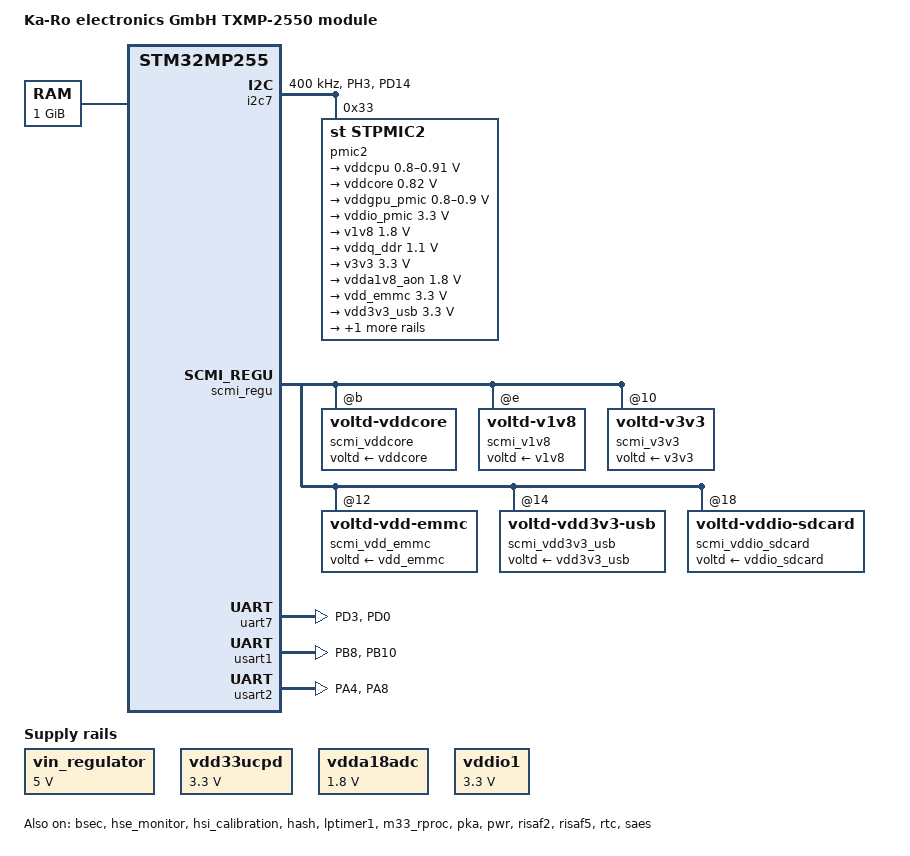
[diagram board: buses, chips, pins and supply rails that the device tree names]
// SPDX-License-Identifier: (GPL-2.0-or-later OR BSD-3-Clause)
/*
 * Copyright (C) 2024, STMicroelectronics - All Rights Reserved
 * Author: STM32CubeMX code generation for STMicroelectronics.
 */

/* For more information on Device Tree configuration, please refer to
 * https://wiki.st.com/stm32mpu/wiki/Category:Device_tree_configuration
 */

/dts-v1/;

#include "stm32mp255.dtsi"
#include "stm32mp25xf.dtsi"
#include "stm32mp255c-txmp-2550-rcc.dtsi"
#include "stm32mp255c-txmp-2550-resmem.dtsi"
#include "stm32mp255c-txmp-2550-rif.dtsi"
#include "stm32mp25xxai-pinctrl.dtsi"

#include <dt-bindings/mfd/st,stpmic2.h>
#include <dt-bindings/pinctrl/stm32-pinfunc.h>

/ {
	model = "Ka-Ro electronics GmbH TXMP-2550 module";
	compatible = "st,stm32mp255c-txmp-2550", "st,stm32mp255";

	aliases {
		serial0 = &usart2;
	};

	chosen {
		stdout-path = "serial0:115200n8";
	};

	memory@80000000 {
		device_type = "memory";
		reg = <0x00000000 0x80000000 0x00000000 0x40000000>;
	};

	shadow-prov {
		compatible = "st,provisioning";

		hconf1_prov {
			nvmem-cells = <&hconf1_otp>;
			st,shadow-value = <0x00008006>;
		};
	};

	vin_regulator: vin-regulator {
		compatible = "regulator-fixed";
		regulator-name = "vin";
		regulator-min-microvolt = <5000000>;
		regulator-max-microvolt = <5000000>;
		regulator-always-on;
	};
};

&bsec {
	status = "okay";
};

&cpu0 {
	cpu-supply = <&vddcpu>;
};

&hse_monitor {
	status = "okay";
};

&hsi_calibration {
	status = "okay";
};

&hash {
	status = "okay";
};

&hpdma2 {
	status = "okay";
};

&hpdma3 {
	status = "okay";
};

&i2c7 {
	pinctrl-names = "default", "sleep";
	pinctrl-0 = <&i2c7_pins>;
	pinctrl-1 = <&i2c7_sleep_pins>;
	clock-frequency = <400000>;
	#address-cells = <1>;
	#size-cells = <0>;
	status = "okay";

	pmic2: stpmic2@33 {
		compatible = "st,stpmic2";
		reg = <0x33>;
		st,wakeup-pin-number = <1>;
		st,pmic-it-id = <IT_PKEY_FA IT_PKEY_RI>;
		st,notif-it-id = <0 1>;
		status = "okay";

		regulators {
			compatible = "st,stpmic2-regulators";
			ldo1-supply = <&vddio_pmic>;

			vddcpu: buck1 {
				regulator-name = "vddcpu";
				regulator-min-microvolt = <800000>;
				regulator-max-microvolt = <910000>;
				regulator-always-on;
				st,pwrctrl-sel = <2>;
				st,pwrctrl-enable;

				default {
					regulator-off-in-suspend;
				};

				lplv {
					regulator-off-in-suspend;
				};

				standby {
					regulator-off-in-suspend;
				};

				off {
					regulator-off-in-suspend;
				};
			};

			vddcore: buck2 {
				regulator-name = "vddcore";
				regulator-min-microvolt = <820000>;
				regulator-max-microvolt = <820000>;
				regulator-always-on;
				st,pwrctrl-sel = <1>;
				st,pwrctrl-enable;

				default {
					regulator-on-in-suspend;
					regulator-suspend-microvolt = <820000>;
				};

				lplv {
					regulator-on-in-suspend;
					regulator-suspend-microvolt = <670000>;
				};

				standby {
					regulator-off-in-suspend;
				};

				off {
					regulator-off-in-suspend;
				};
			};

			vddgpu_pmic: buck3 {
				regulator-name = "vddgpu_pmic";
				regulator-min-microvolt = <800000>;
				regulator-max-microvolt = <900000>;
				regulator-over-current-protection;
			};

			vddio_pmic: buck4 {
				regulator-name = "vddio_pmic";
				regulator-min-microvolt = <3300000>;
				regulator-max-microvolt = <3300000>;
				regulator-always-on;
				st,mask-reset;
				st,pwrctrl-sel = <1>;
				st,pwrctrl-enable;

				default {
					regulator-on-in-suspend;
					regulator-suspend-microvolt = <3300000>;
				};

				lplv {
					regulator-on-in-suspend;
					regulator-suspend-microvolt = <3300000>;
				};

				standby {
					regulator-on-in-suspend;
					regulator-suspend-microvolt = <3300000>;
				};

				off {
					/* ToDo: switch to LP */
					regulator-on-in-suspend;
					regulator-suspend-microvolt = <3300000>;
				};
			};

			v1v8: buck5 {
				regulator-name = "v1v8";
				regulator-min-microvolt = <1800000>;
				regulator-max-microvolt = <1800000>;
				regulator-always-on;
				st,pwrctrl-sel = <1>;
				st,pwrctrl-enable;

				default {
					regulator-on-in-suspend;
					regulator-suspend-microvolt = <1800000>;
				};

				lplv {
					regulator-on-in-suspend;
					regulator-suspend-microvolt = <1800000>;
				};

				standby {
					regulator-on-in-suspend;
					regulator-suspend-microvolt = <1800000>;
				};

				off {
					regulator-off-in-suspend;
				};
			};

			vddq_ddr: buck6 {
				regulator-name = "vddq_ddr";
				regulator-min-microvolt = <1100000>;
				regulator-max-microvolt = <1100000>;
				regulator-always-on;
				st,pwrctrl-sel = <1>;
				st,pwrctrl-enable;

				default {
					regulator-on-in-suspend;
					regulator-suspend-microvolt = <1100000>;
				};

				lplv {
					regulator-on-in-suspend;
					regulator-suspend-microvolt = <1100000>;
				};

				standby {
					regulator-on-in-suspend;
					regulator-suspend-microvolt = <1100000>;
				};

				off {
					regulator-off-in-suspend;
				};
			};

			v3v3: buck7 {
				regulator-name = "v3v3";
				regulator-min-microvolt = <3300000>;
				regulator-max-microvolt = <3300000>;
				regulator-always-on;
				regulator-over-current-protection;
				st,pwrctrl-sel = <1>;
				st,pwrctrl-enable;

				default {
					regulator-on-in-suspend;
					regulator-suspend-microvolt = <3300000>;
				};

				lplv {
					regulator-on-in-suspend;
					regulator-suspend-microvolt = <3300000>;
				};

				standby {
					regulator-off-in-suspend;
				};

				off {
					regulator-off-in-suspend;
				};
			};

			vdda1v8_aon: ldo1 {
				regulator-name = "vdda1v8_aon";
				regulator-min-microvolt = <1800000>;
				regulator-max-microvolt = <1800000>;
				regulator-always-on;
				st,alternate-input-source;
				st,mask-reset;
			};

			vdd_emmc: ldo2 {
				regulator-name = "vdd_emmc";
				regulator-min-microvolt = <3300000>;
				regulator-max-microvolt = <3300000>;
				regulator-over-current-protection;
				regulator-always-on;
			};

			vdd3v3_usb: ldo4 {
				regulator-name = "vdd3v3_usb";
				regulator-min-microvolt = <3300000>;
				regulator-max-microvolt = <3300000>;
				regulator-always-on;
				regulator-over-current-protection;
			};

			vddio_sdcard: ldo8 {
				regulator-name = "vddio_sdcard";
				regulator-min-microvolt = <1800000>;
				regulator-max-microvolt = <3300000>;
				regulator-over-current-protection;
				st,regulator-bypass-microvolt = <3300000>;
			};
		};
	};
};

&ipcc1 {
	status = "okay";
};

&iwdg1 {
//	status = "okay";
};

&lptimer1 {
	status = "okay";

	counter {
		status = "okay";
	};
};

&m33_rproc {
	status = "okay";
	compatible = "st,stm32mp2-m33-tee";
	memory-region = <&cm33_cube_fw>, <&cm33_cube_data>,
			<&ipc_shmem>, <&tfm_code>, <&tfm_data>,
			<&cm33_sram2>;
};

&pka {
	status = "okay";
};

&pwr {
	pinctrl-names = "default";
	pinctrl-0 = <&wakeup_pins>;
	status = "okay";
};

&rcc {
	st,c1msrd = <2>;

	st,clk_opp {
		st,ck_cpu1 {
			cfg-1 {
				hz = <1500000000>;
				st,clksrc = <0>;
				st,pll = <&pll1_cfg_1500MHz>;
			};

			cfg-2 {
				hz = <1200000000>;
				st,clksrc = <0>;
				st,pll = <&pll1_cfg_1200MHz>;
			};

			cfg-3 {
				hz = <1000000000>;
				st,clksrc = <0>;
				st,pll = <&pll1_cfg_1000MHz>;
			};
		};
	};
};

&risaf2 {
	status = "okay";
};

&risaf5 {
	status = "okay";
};

&rtc {
	status = "okay";
};

&saes {
	status = "okay";
};

&scmi_regu {
	scmi_vddcore: voltd-vddcore@b {
		reg = <VOLTD_SCMI_STPMIC2_BUCK2>;
		voltd-supply = <&vddcore>;
	};

	scmi_v1v8: voltd-v1v8@e {
		reg = <VOLTD_SCMI_STPMIC2_BUCK5>;
		voltd-supply = <&v1v8>;
	};

	scmi_v3v3: voltd-v3v3@10 {
		reg = <VOLTD_SCMI_STPMIC2_BUCK7>;
		voltd-supply = <&v3v3>;
	};

	scmi_vdd_emmc: voltd-vdd-emmc@12 {
		reg = <VOLTD_SCMI_STPMIC2_LDO2>;
		voltd-supply = <&vdd_emmc>;
	};

	scmi_vdd3v3_usb: voltd-vdd3v3-usb@14 {
		reg = <VOLTD_SCMI_STPMIC2_LDO4>;
		voltd-supply = <&vdd3v3_usb>;
	};

	scmi_vddio_sdcard: voltd-vddio-sdcard@18 {
		reg = <VOLTD_SCMI_STPMIC2_LDO8>;
		voltd-supply = <&vddio_sdcard>;
	};
};

&tamp {
	wakeup-source;
	wakeup-parent = <&exti2>;
	st,tamp-passive-precharge = <2>;
	st,tamp-passive-nb-sample = <4>;
	st,tamp-passive-sample-clk-div = <16384>;
};

&uart7 {
	pinctrl-names = "default";
	pinctrl-0 = <&uart7_pins>;
	status = "okay";
};

&usart1 {
	pinctrl-names = "default";
	pinctrl-0 = <&usart1_pins>;
	status = "okay";
};

&usart2 {
	pinctrl-names = "default";
	pinctrl-0 = <&usart2_pins>;
	status = "okay";
};

/* PWR regulators */
&vdd33ucpd {
	regulator-min-microvolt = <3300000>;
	regulator-max-microvolt = <3300000>;
	vdd33ucpd-supply = <&vdd3v3_usb>;
	regulator-always-on;
	status = "okay";
};

&vdda18adc {
	regulator-min-microvolt = <1800000>;
	regulator-max-microvolt = <1800000>;
	vdda18adc-supply = <&v1v8>;
	regulator-always-on;
	status = "okay";
};

&vddgpu {
	vddgpu-supply = <&vddgpu_pmic>;
	status = "okay";
};

&vddio1 {
	regulator-min-microvolt = <3300000>;
	regulator-max-microvolt = <3300000>;
	vddio1-supply = <&vddio_sdcard>;
	status = "okay";
};

&vddio2 {
	vddio2-supply = <&v1v8>;
	regulator-always-on;
	status = "okay";
};

&vddio3 {
	vddio3-supply = <&vddio_pmic>;
	regulator-always-on;
	status = "okay";
};

&vddio4 {
	vddio4-supply = <&vddio_pmic>;
	regulator-always-on;
	status = "okay";
};

&vddio {
	vdd-supply = <&vddio_pmic>;
	status = "okay";
};

&pinctrl {
	i2c7_pins: i2c7-pins {
		pins1 {
			pinmux = <STM32_PINMUX('H', 3, AF10)>, /* I2C7_SCL */
				 <STM32_PINMUX('D', 14, AF10)>; /* I2C7_SDA */
			bias-disable;
			drive-open-drain;
			slew-rate = <0>;
		};
	};

	i2c7_sleep_pins: i2c7-sleep-pins {
		pins1 {
			pinmux = <STM32_PINMUX('H', 3, ANALOG)>, /* I2C7_SCL */
				 <STM32_PINMUX('D', 14, ANALOG)>; /* I2C7_SDA */
		};
	};

	uart7_pins: uart7-pins {
		pins1 {
			pinmux = <STM32_PINMUX('D', 3, AF6)>; /* UART7_TX */
			bias-disable;
			drive-push-pull;
			slew-rate = <0>;
		};

		pins2 {
			pinmux = <STM32_PINMUX('D', 0, AF6)>; /* UART7_RX */
			bias-pull-up;
		};
	};

	usart1_pins: usart1-pins {
		pins1 {
			pinmux = <STM32_PINMUX('B', 8, AF6)>; /* USART1_TX */
			bias-disable;
			drive-push-pull;
			slew-rate = <0>;
		};

		pins2 {
			pinmux = <STM32_PINMUX('B', 10, AF6)>; /* USART1_RX */
			bias-pull-up;
		};
	};

	usart2_pins: usart2-pins {
		pins1 {
			pinmux = <STM32_PINMUX('A', 4, AF6)>; /* USART2_TX */
			bias-disable;
			drive-push-pull;
			slew-rate = <0>;
		};

		pins2 {
			pinmux = <STM32_PINMUX('A', 8, AF8)>; /* USART2_RX */
			bias-pull-up;
		};
	};

	wakeup_pins: wakeup-pins {
		pins1 {
			pinmux = <STM32_PINMUX('A', 0, GPIO)>;
		};
	};
};
